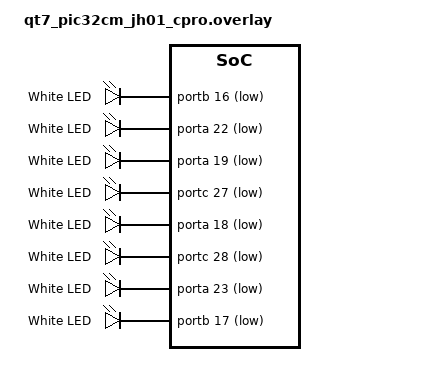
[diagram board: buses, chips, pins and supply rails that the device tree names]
/*
 * Copyright (c) 2026 Microchip Technology Inc.
 *
 * SPDX-License-Identifier: Apache-2.0
 */

/*
 * QT7 Xplained Pro Extension Board overlay for PIC32CM JH CPRO
 *
 * This overlay configures the QT7 shield when connected to the PIC32CM JH CPRO
 *
 * Sensor Type: NODE_SELFCAP_SHIELD (Self-capacitance with Driven Shield)
 *
 * Connection details:
 *    Connect the QT7 add-on board to the PIC32CM JH CPRO EXT-1 header.
 *
 * QT7 to PIC32CM JH CPRO Y-line mapping:
 *
 *   Node Configuration (x-mask=shield, y-mask=sensor):
 *   Node 0 (Button 0/Y1): Shield = 13, 25, 29, 28, 19  sensor = 14
 *   Node 1 (Button 1/Y0): Shield = 14, 25, 29, 28, 19  sensor = 13
 *   Node 2 (Slider 0/Y4): Shield = 14, 13, 29, 28, 19  sensor = 25
 *   Node 3 (Slider 1/Y3): Shield = 14, 13, 25, 28, 19  sensor = 29
 *   Node 4 (Slider 2/Y2): Shield = 14, 13, 25, 29, 19  sensor = 28
 */

/ {
	qt7_leds {
		compatible = "gpio-leds";

		qt7_led_b0: b0_led {
			gpios = <&portb 16 GPIO_ACTIVE_LOW>;
			label = "White LED";
		};

		qt7_led_b1: b1_led {
			gpios = <&porta 22 GPIO_ACTIVE_LOW>;
			label = "White LED";
		};

		qt7_scroller_led0: scroller_led0 {
			gpios = <&porta 19 GPIO_ACTIVE_LOW>;
			label = "White LED";
		};

		qt7_scroller_led1: scroller_led1 {
			gpios = <&portc 27 GPIO_ACTIVE_LOW>;
			label = "White LED";
		};

		qt7_scroller_led2: scroller_led2 {
			gpios = <&porta 18 GPIO_ACTIVE_LOW>;
			label = "White LED";
		};

		qt7_scroller_led3: scroller_led3 {
			gpios = <&portc 28 GPIO_ACTIVE_LOW>;
			label = "White LED";
		};

		qt7_scroller_led4: scroller_led4 {
			gpios = <&porta 23 GPIO_ACTIVE_LOW>;
			label = "White LED";
		};

		qt7_scroller_led5: slider_led5 {
			gpios = <&portb 17 GPIO_ACTIVE_LOW>;
			label = "White LED";
		};
	};
};

&pinctrl {
	ptc_qt7_default: ptc_qt7_default {
		group1 {
			pinmux = <PB7B_PTC_Y13>,
				 <PB8B_PTC_Y14>,
				 <PA11B_PTC_Y19>,
				 <PB12B_PTC_Y28>,
				 <PB13B_PTC_Y29>,
				 <PA21B_PTC_Y25>;
		};
	};
};

&ptc {
	def-num-channels = <5>;
	def-num-sensors = <5>;

	pinctrl-0 = <&ptc_qt7_default>;
	pinctrl-names = "default";

	/* node parameters */
	node_0_params: touch_node0 {
		x-mask = <19>, <13>, <28>, <29>, <25>;
		x-names = "DRIVEN_SHIELD", "BUTTON_1", "SLIDER_0", "SLIDER_1", "SLIDER_2";
		y-mask = <14>;
		y-names = "BUTTON_0";
		csd = <0>;
		prescaler = "PRSC_DIV_SEL_16";
		digital-gain = "GAIN_1";
		analog-gain = "GAIN_1";
		filter-level = "FILTER_LEVEL_16";
	};

	key_0_params: touch_key0 {
		threshold = <50>;
		hysteresis = "HYST_25";
		aks-group = "NO_AKS_GROUP";
	};

	/* node parameters */
	node_1_params: touch_node1 {
		x-mask = <19>, <14>, <28>, <29>, <25>;
		x-names = "DRIVEN_SHIELD", "BUTTON_0", "SLIDER_0", "SLIDER_1", "SLIDER_2";
		y-mask = <13>;
		y-names = "BUTTON_1";
		csd = <0>;
		prescaler = "PRSC_DIV_SEL_16";
		digital-gain = "GAIN_1";
		analog-gain = "GAIN_1";
		filter-level = "FILTER_LEVEL_16";
	};

	key_1_params: touch_key1 {
		threshold = <50>;
		hysteresis = "HYST_25";
		aks-group = "NO_AKS_GROUP";
	};

	/* scroller - node parameters */
	node_2_params: touch_node2 {
		x-mask = <19>, <14>, <13>, <28>, <29>;
		x-names = "DRIVEN_SHIELD", "BUTTON_0", "BUTTON_1", "SLIDER_1", "SLIDER_2";
		y-mask = <25>;
		y-names = "SLIDER_0";
		csd = <0>;
		prescaler = "PRSC_DIV_SEL_16";
		digital-gain = "GAIN_1";
		analog-gain = "GAIN_1";
		filter-level = "FILTER_LEVEL_16";
	};

	key_2_params: touch_key2 {
		threshold = <50>;
		hysteresis = "HYST_25";
		aks-group = "NO_AKS_GROUP";
	};

	node_3_params: touch_node3 {
		x-mask = <19>, <14>, <13>, <28>, <25>;
		x-names = "DRIVEN_SHIELD", "BUTTON_0", "BUTTON_1", "SLIDER_0", "SLIDER_2";
		y-mask = <29>;
		y-names = "SLIDER_1";
		csd = <0>;
		prescaler = "PRSC_DIV_SEL_16";
		digital-gain = "GAIN_1";
		analog-gain = "GAIN_1";
		filter-level = "FILTER_LEVEL_16";
	};

	key_3_params: touch_key3 {
		threshold = <50>;
		hysteresis = "HYST_25";
		aks-group = "NO_AKS_GROUP";
	};

	node_4_params: touch_node4 {
		x-mask = <19>, <14>, <13>, <29>, <25>;
		x-names = "DRIVEN_SHIELD", "BUTTON_0", "BUTTON_1", "SLIDER_0", "SLIDER_1";
		y-mask = <28>;
		y-names = "SLIDER_2";
		csd = <0>;
		prescaler = "PRSC_DIV_SEL_16";
		digital-gain = "GAIN_1";
		analog-gain = "GAIN_1";
		filter-level = "FILTER_LEVEL_16";
	};

	key_4_params: touch_key4 {
		threshold = <50>;
		hysteresis = "HYST_25";
		aks-group = "NO_AKS_GROUP";
	};

	def-num-scrollers = <1>;

	/* Slider / wheel Parameters */
	scroller-0-params {
		compatible = "microchip,ptc-scroller";
		scroller-type = "SCROLLER_TYPE_SLIDER";
		start-key = <2>;
		number-of-keys = <3>;
		position-hysteresis = <8>;
		contact-min-threshold = <50>;

		/* resol_deadband */
		scroller-resolution = "SCR_RESOL_8_BIT";
		scr-db-percent = "SCR_DB_10_PERCENT";
	};
};
